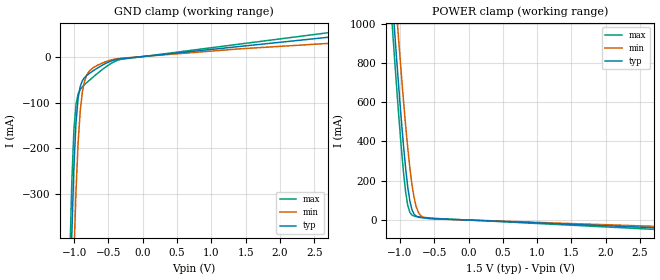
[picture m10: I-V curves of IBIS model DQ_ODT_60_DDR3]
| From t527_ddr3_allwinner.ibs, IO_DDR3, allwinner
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|   Model DQ_ODT_60_DDR3
[Model] DQ_ODT_60_DDR3
Model_type Input
Polarity   Non-Inverting
Enable   Active-High
Vinl =  0.750V
Vinh =  0.750V
C_comp   1.532pF   1.497pF   1.578pF
C_comp_power_clamp   0.483pF   0.465pF   0.504pF
C_comp_gnd_clamp   0.786pF   0.766pF   0.812pF
[Model Spec]
Vinh   0.750V   0.712V   0.787V
Vinl   0.750V   0.712V   0.787V
[Temperature Range]   25.000   0.125k   -40.000
[Voltage Range]   1.500V   1.425V   1.575V
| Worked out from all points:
|   GND clamp passes 1 mA (typ) near -0.06 V on its own axis
|   POWER clamp passes 1 mA (typ) near -0.07 V on its own axis
[GND_clamp]
|Voltage   I(typ)   I(min)   I(max)
-1.5V     -3.547A    -3.631A    -3.528A
-1.066V   -582.2mA   -811.8mA   -454.7mA
-1.035V   -390.7mA   -611.8mA   -276.4mA
-1.004V   -241.5mA   -435.5mA   -160.3mA
-973mV    -143.3mA   -291.9mA   -103.8mA
-942mV    -90mA      -186.4mA   -81.19mA
-911mV    -64.55mA   -117.4mA   -71.45mA
-880mV    -52.42mA   -76.42mA   -65.71mA
-818mV    -41.32mA   -40.71mA   -56.91mA
-694mV    -28.26mA   -21.78mA   -40.89mA
-322mV    -4.992mA   -3.909mA   -6.304mA
3V        46.51mA    31.28mA    57.52mA
[POWER_clamp]
|Voltage   I(typ)   I(min)   I(max)
-1.5V     3.135A     3.33A      3.026A
-1.135V   1.241A     1.47A      1.103A
-1.104V   1.087A     1.319A     946.8mA
-1.073V   935.4mA    1.169A     793mA
-1.042V   787.4mA    1.023A     643.3mA
-1.011V   644.1mA    879.7mA    499.7mA
-918mV    265.1mA    483.3mA    143.9mA
-887mV    169mA      368.1mA    74.97mA
-825mV    52.38mA    179.9mA    25.3mA
-732mV    15.06mA    39.51mA    16.77mA
-608mV    9.692mA    9.042mA    12.29mA
3V        -43.04mA   -35.33mA   -52.27mA
